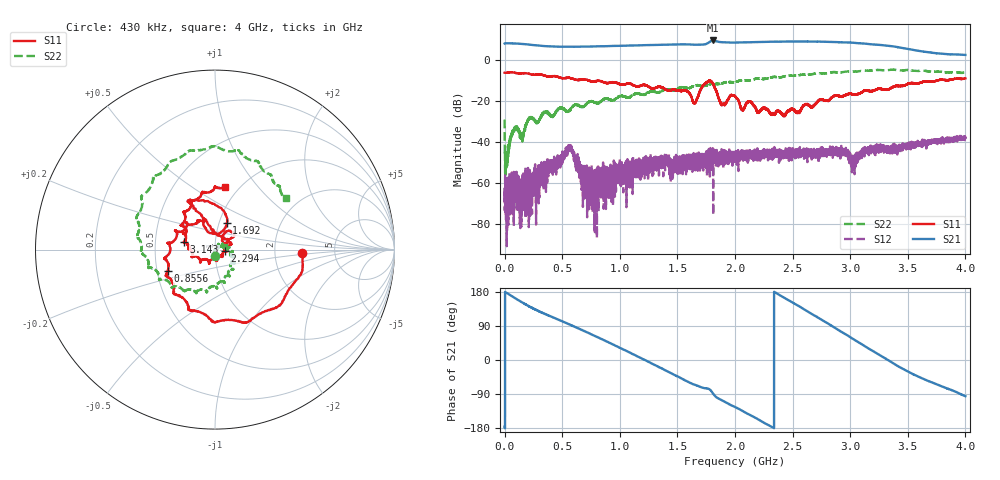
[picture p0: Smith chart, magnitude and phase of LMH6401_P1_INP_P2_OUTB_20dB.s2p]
!Keysight Technologies N9917A: A.08.18
!Date: Saturday, 27 May 2023 16:45:05
!Timezone: (GMT-07:00) Mountain Time (US & Canada)
!Model: N9917A
!Serial: MY52401314
!GPS Latitude:
!GPS Longitude:
!GPS TimeStamp: 0001-01-01 00:00:00Z
!GPS Seconds Since Last Read: 0
!CHECKSUM:1066206872
!Correction: S11(ON U)S21(ON U)S12(ON U)S22(ON U)
!S2P File: Measurements:S11,S21,S12,S22:
# Hz S DB R 50
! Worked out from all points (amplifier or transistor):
!   10000 points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, 430 kHz to 4 GHz, reference 50 ohm
!   highest |S21| = 9.5 dB at 1.81 GHz (marker M1)
!   |S21| within 3 dB of that: 706.1 MHz to 3.385 GHz (2.679 GHz wide, 131 % of centre)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
!   unconditionally stable (mu >= 1): start of sweep to end of sweep
!   at 666.8 MHz: K = 111.96, MAG = 7.0 dB, |S12| = -54.6 dB
!   at 2 GHz: K = 29.79, MAG = 9.0 dB, |S12| = -44.9 dB
!   at 4 GHz: K = 19.20, MAG = 4.2 dB, |S12| = -37.7 dB
!   S11 on the Smith chart (normalised r, x): 430 kHz: 2.90, -0.15; 855.6 MHz: 0.57, -0.15; 1.692 GHz: 1.09, +0.33; 2.294 GHz: 1.12, -0.01; 3.143 GHz: 0.71, +0.06; 4 GHz: 0.86, +0.69
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429997  -6.23 -2.3  8.06 -176.0  -64.49 -88.4  -29.14 -92.7
2.242983e7  -6.18 -6.2  8.16 176.3  -83.72 12.7  -47.01 -80.2
8.522936e7  -6.22 -18.8  8.05 164.2  -61.64 81.1  -34.03 50.5
2.61628e8  -7.22 -58.2  7.22 134.0  -56.13 51.3  -29.45 55.4
5.668257e8  -8.77 -114.3  6.46 93.3  -42.07 -29.9  -24.62 4.4
6.67225e8  -9.67 -130.9  6.52 79.8  -51.51 -79.5  -23.00 5.0
8.556236e8  -10.80 -155.1  6.72 53.2  -63.77 -113.2  -19.27 -22.8
1.106022e9  -12.07 171.2  7.08 16.4  -54.76 -55.3  -17.21 -49.3
1.33362e9  -13.15 136.6  7.41 -17.8  -52.48 -63.6  -15.79 -68.5
1.692417e9  -15.75 66.3  7.51 -70.0  -47.40 -105.4  -12.46 -100.6
1.774417e9  -10.17 116.1  8.60 -76.6  -52.85 -111.4  -11.97 -113.5
1.810016e9  -11.75 117.7  9.54 -88.5  -45.76 -137.4  -11.55 -113.1
1.890016e9  -21.62 68.6  8.67 -106.7  -45.91 -124.3  -11.46 -124.0
2.000415e9  -17.72 54.3  8.50 -124.1  -44.91 -142.6  -10.71 -133.7
2.294013e9  -25.15 -6.9  8.89 -172.4  -46.19 172.2  -8.77 -163.0
2.478811e9  -24.35 -80.6  9.02 155.3  -45.65 171.4  -7.69 -178.8
2.66681e9  -23.01 -126.3  8.98 121.4  -45.27 147.1  -6.99 161.4
2.882008e9  -17.33 -162.2  8.75 82.1  -44.79 117.7  -6.00 142.0
3.143206e9  -15.09 166.5  7.90 33.3  -43.95 121.7  -5.24 114.9
3.333605e9  -14.32 145.8  6.89 -1.0  -44.14 93.2  -4.94 93.6
3.572803e9  -11.51 125.5  4.66 -41.2  -41.12 73.2  -5.40 69.8
4e9  -9.00 80.9  2.45 -95.6  -37.67 4.5  -6.13 36.1
